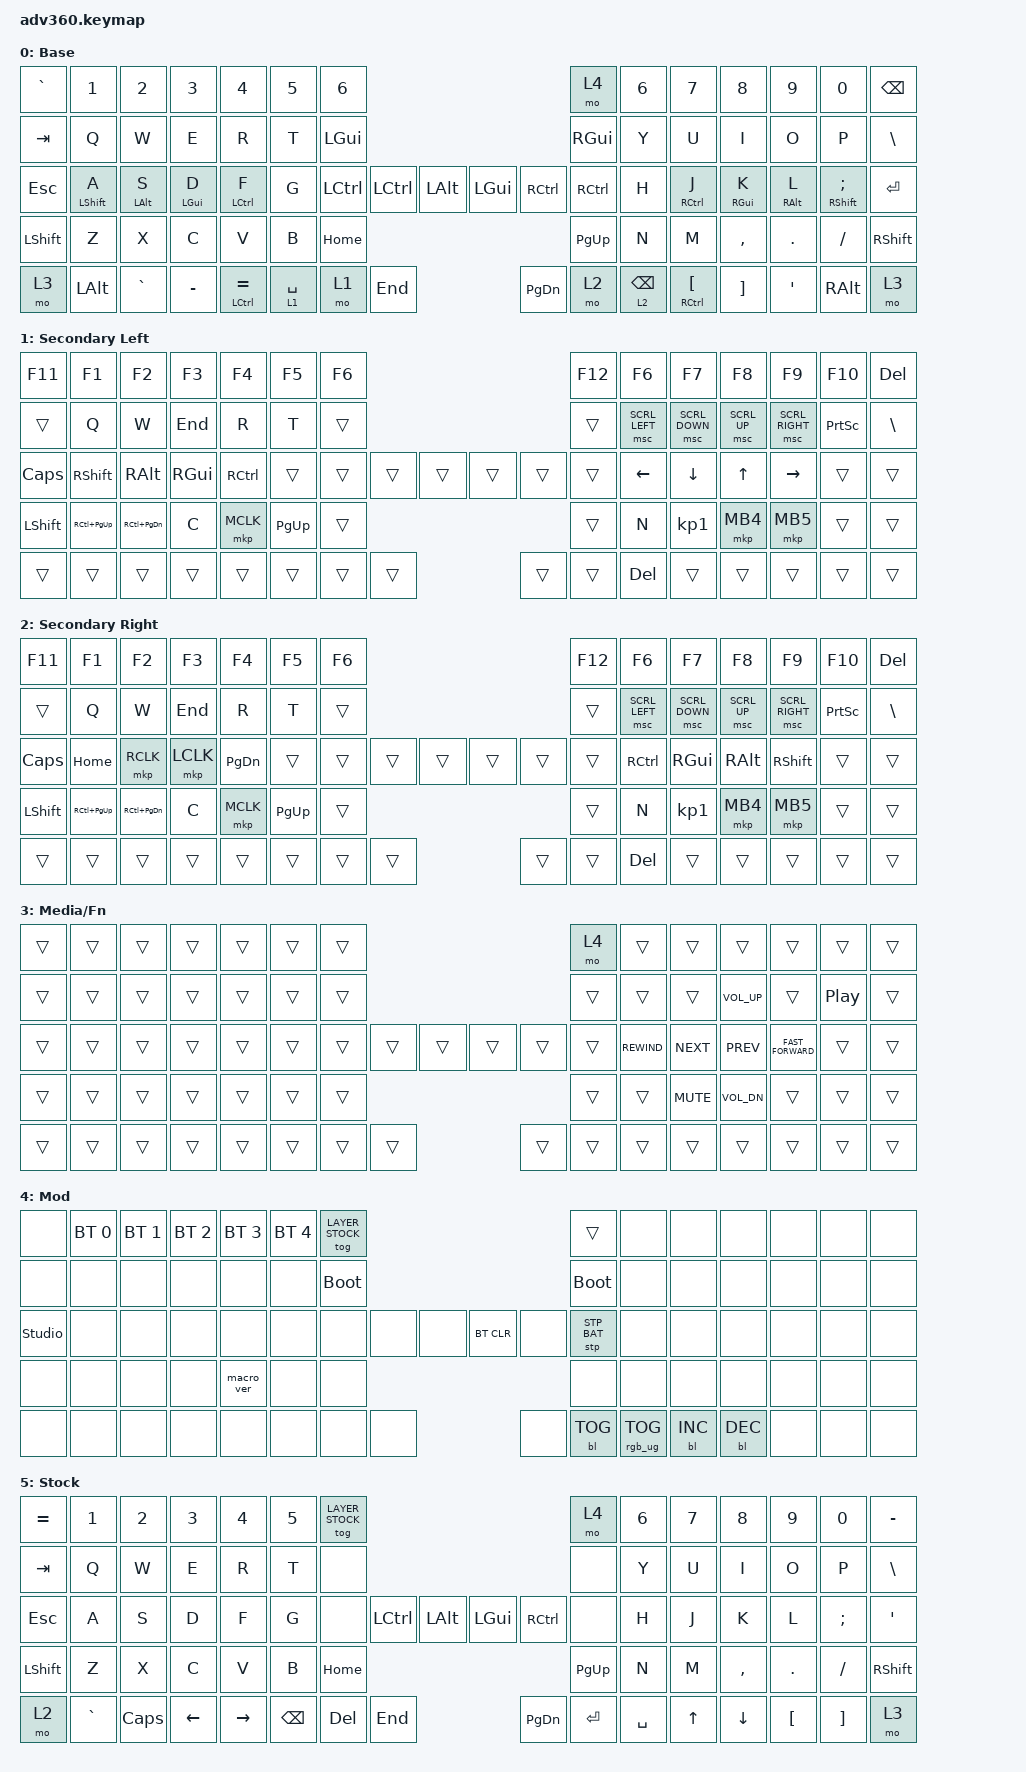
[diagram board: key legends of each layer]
#include <behaviors.dtsi>
#include <dt-bindings/zmk/keys.h>
#include <dt-bindings/zmk/bt.h>
#include <dt-bindings/zmk/rgb.h>
#include <dt-bindings/zmk/stp.h>
#include <dt-bindings/zmk/backlight.h>
#include <dt-bindings/zmk/pointing.h>

#define LAYER_STOCK 5

/ {
    behaviors {
      #include "macros.dtsi"
      #include "version.dtsi"

      hm: homerow_mods {
          compatible = "zmk,behavior-hold-tap";
          label = "HOMEROW_MODS";
          #binding-cells = <2>;
          tapping-term-ms = <250>;
          quick_tap_ms = <225>;
          flavor = "tap-preferred";
          bindings = <&kp>, <&kp>;
      };

      tm: thumb_mods {
          compatible = "zmk,behavior-hold-tap";
          label = "THUMB_MODS";
          #binding-cells = <2>;
          tapping-term-ms = <250>;
          quick_tap_ms = <225>;
          flavor = "tap-preferred";
          bindings = <&mo>, <&kp>;
      };
    };

  keymap {
    compatible = "zmk,keymap";

    default_layer {
      display-name = "Base";
      bindings = <
        &kp GRAVE &kp N1             &kp N2        &kp N3        &kp N4      &kp N5 &kp N6                                                           &mo 4     &kp N6 &kp N7   &kp N8    &kp N9   &kp N0   &kp BSPC
        &kp TAB   &kp Q              &kp W         &kp E         &kp R       &kp T  &kp LGUI                                                         &kp RGUI  &kp Y  &kp U    &kp I     &kp O    &kp P    &kp BSLH
        &kp ESC   &hm LSHIFT A       &hm LALT S    &hm LGUI D    &hm LCTRL F &kp G  &kp LCTRL       &kp LCTRL &kp LALT &kp LGUI  &kp RCTRL           &kp RCTRL &kp H  &hm RCTRL J  &hm RGUI K     &hm RALT L    &hm RSHIFT SEMI &kp ENTER
        &kp LSHFT &kp Z              &kp X         &kp C         &kp V         &kp B                          &kp HOME &kp PG_UP                               &kp N  &kp M    &kp COMMA &kp DOT  &kp FSLH &kp RSHFT
        &mo 3     &kp LALT         &kp GRAVE       &kp MINUS     &hm LCTRL EQUAL            &tm 1 SPACE &mo 1 &kp END  &kp PG_DN &mo 2 &tm 2 BSPC                     &hm RCTRL LBKT &kp RBKT  &kp SQT  &kp RALT  &mo 3
      >;
    };
    secondary_left {
      display-name = "Secondary Left";
      bindings = <
        &kp F11       &kp F1        &kp F2        &kp F3    &kp F4      &kp F5 &kp F6                                                           &kp F12   &kp F6          &kp F7     &kp F8 &kp F9 &kp F10 &kp DEL
        &trans        &kp Q         &kp W         &kp END   &kp R       &kp T  &trans                                                           &trans    &msc SCRL_LEFT   &msc SCRL_DOWN  &msc SCRL_UP    &msc SCRL_RIGHT     &kp PSCRN  &kp BSLH
        &kp CAPSLOCK  &kp RSHFT     &kp RALT      &kp RGUI  &kp RCTRL   &trans &trans             &trans &trans &trans &trans                   &trans    &kp LEFT         &kp DOWN        &kp UP          &kp RIGHT           &trans     &trans
        &kp LSHFT     &kp RC(PG_UP) &kp RC(PG_DN) &kp C     &mkp MCLK   &kp PG_UP                        &trans &trans                                    &kp N            &kp KP_N1       &mkp MB4        &mkp MB5            &trans     &trans
        &trans        &trans    &trans    &trans    &trans                         &trans &trans &trans &trans &trans &kp DEL                                      &trans          &trans          &trans              &trans     &trans
      >;
    };
    secondary_right {
      display-name = "Secondary Right";
      bindings = <
        &kp F11       &kp F1        &kp F2        &kp F3    &kp F4      &kp F5 &kp F6                                                           &kp F12   &kp F6          &kp F7     &kp F8 &kp F9 &kp F10 &kp DEL
        &trans        &kp Q         &kp W         &kp END   &kp R       &kp T  &trans                                                           &trans    &msc SCRL_LEFT   &msc SCRL_DOWN  &msc SCRL_UP    &msc SCRL_RIGHT     &kp PSCRN  &kp BSLH
        &kp CAPSLOCK  &kp HOME      &mkp RCLK     &mkp LCLK &kp PG_DN   &trans &trans             &trans &trans &trans &trans                   &trans    &kp RCTRL        &kp RGUI        &kp RALT        &kp RSHFT           &trans     &trans
        &kp LSHFT     &kp RC(PG_UP) &kp RC(PG_DN) &kp C     &mkp MCLK   &kp PG_UP                        &trans &trans                                    &kp N            &kp KP_N1       &mkp MB4        &mkp MB5            &trans     &trans
        &trans        &trans    &trans    &trans    &trans                         &trans &trans &trans &trans &trans &kp DEL                                      &trans          &trans          &trans              &trans     &trans
      >;
    };
    fn {
      display-name = "Media/Fn";
      bindings = <
        &trans &trans &trans &trans &trans &trans &trans                                          &mo 4  &trans       &trans     &trans         &trans             &trans           &trans
        &trans &trans &trans &trans &trans &trans &trans                                          &trans &trans       &trans     &kp C_VOL_UP   &trans             &kp C_PLAY_PAUSE &trans
        &trans &trans &trans &trans &trans &trans &trans       &trans &trans &trans &trans        &trans &kp C_REWIND &kp C_NEXT &kp C_PREV     &kp C_FAST_FORWARD &trans           &trans
        &trans &trans &trans &trans &trans &trans                     &trans &trans                      &trans       &kp C_MUTE &kp C_VOL_DN   &trans             &trans           &trans
        &trans &trans &trans &trans &trans              &trans &trans &trans &trans &trans &trans                     &trans     &trans         &trans             &trans           &trans
      >;
    };
    mod {
      display-name = "Mod";
      bindings = <
        &none &bt BT_SEL 0 &bt BT_SEL 1 &bt BT_SEL 2 &bt BT_SEL 3 &bt BT_SEL 4 &tog LAYER_STOCK                                                          &trans                 &none        &none        &none        &none &none &none
        &none &none        &none        &none        &none        &none        &bootloader                                                               &bootloader            &none        &none        &none        &none &none &none
        &studio_unlock &none        &none        &none        &none        &none        &none                   &none &none &bt BT_CLR &none                      &stp STP_BAT &none        &none        &none        &none &none &none
        &none &none        &none        &none        &macro_ver   &none                                      &none &none                                                        &none        &none        &none        &none &none &none
        &none &none        &none        &none        &none                                       &none &none &none &none      &bl BL_TOG &rgb_ug RGB_TOG                                     &bl BL_INC   &bl BL_DEC   &none &none &none
      >;
    };
    original {
      display-name = "Stock";
      bindings = <
        &kp EQUAL &kp N1    &kp N2   &kp N3   &kp N4     &kp N5 &tog LAYER_STOCK                                                 &mo 4 &kp N6 &kp N7 &kp N8    &kp N9   &kp N0   &kp MINUS
        &kp TAB   &kp Q     &kp W    &kp E    &kp R      &kp T  &none                                                            &none &kp Y  &kp U  &kp I     &kp O    &kp P    &kp BSLH
        &kp ESC   &kp A     &kp S    &kp D    &kp F      &kp G  &none           &kp LCTRL &kp LALT &kp LGUI  &kp RCTRL           &none &kp H  &kp J  &kp K     &kp L    &kp SEMI &kp SQT
        &kp LSHFT &kp Z     &kp X    &kp C    &kp V      &kp B                            &kp HOME &kp PG_UP                           &kp N  &kp M  &kp COMMA &kp DOT  &kp FSLH &kp RSHFT
        &mo 2     &kp GRAVE &kp CAPS &kp LEFT &kp RIGHT                &kp BSPC &kp DEL   &kp END  &kp PG_DN &kp ENTER &kp SPACE              &kp UP &kp DOWN  &kp LBKT &kp RBKT &mo 3
      >;
    };
    extra1 { 
      display-name = "Red";    
      status = "reserved";
    };

    extra2 { 
      display-name = "Purple";    
      status = "reserved";
    };

    extra3 { 
      display-name = "Cyan";    
      status = "reserved";
    };

    extra4 { 
      display-name = "Yellow";    
      status = "reserved";
    };
  };
};
